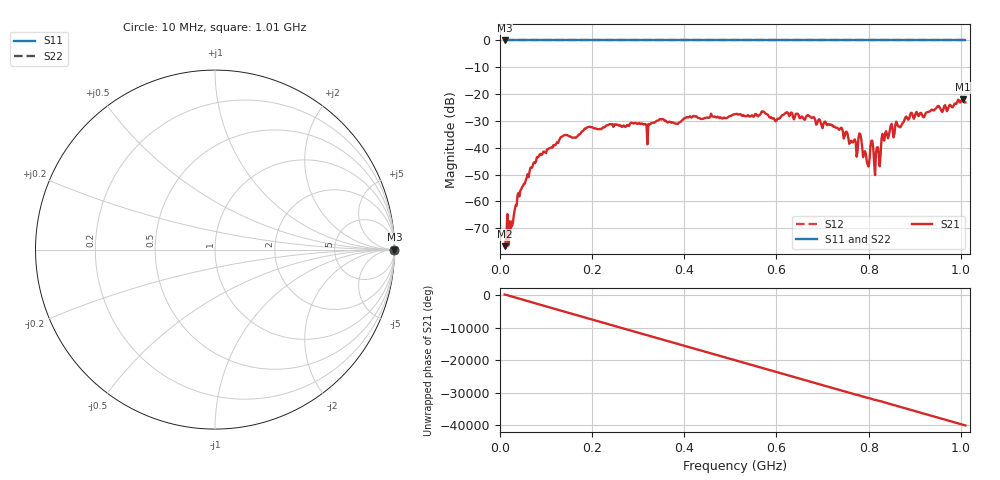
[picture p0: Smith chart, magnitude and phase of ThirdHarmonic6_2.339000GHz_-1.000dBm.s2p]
! 8/17/2025 3:26:43 AM
! C:\ANRITSUVNA\TEMP\TEMP.S2P
! CHANNEL.1
! TR.MEASUREMENT
! RAW.DATA
! RF.CORRECTION.OFF
! AVERAGING.OFF
! IF.BANDWIDTH: 5KHZ
! SWEEPTYPE:  FREQ.SWEEP(Linear)
! Reference Plane Port Info
! PORT:  PORT1  PORT2
! DISTANCE:  0  m  0  m
! TIME:  0  s  0  s
! PHASE.OFFSET:  0  deg.  0  deg.
! LOSS:  0  dB  0  dB
! REF.LOSS:  0  dB  0  dB
! REF.FREQ:  0  Hz  0  Hz
! Power Info
! POWER:  -20  dBm  -20  dBm
! EFF.POWER:  -20  dBm  -20  dBm
! SOURCE.ATTEN:  0  dB  0  dB
! TEST.ATTEN:  0  dB  0  dB
# GHZ S RI R 50.0
! FREQ.GHZ  S11RE  S11IM  S21RE  S21IM  S12RE  S12IM  S22RE  S22IM
!; PortSelection: Port_12
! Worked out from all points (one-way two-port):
!   501 points, 10 MHz to 1.01 GHz, reference 50 ohm
!   highest |S21| = -21.99 dB at 1.004 GHz (marker M1); lowest = -76.6 dB at 10 MHz (marker M2)
!   lowest |S11| = 0.0 dB at 10 MHz (marker M3)
!   |S11| at or under -10 dB: nowhere
!   |S22| runs from 0.0 to 0.0 dB; largest |S21 - S12| = 1.1
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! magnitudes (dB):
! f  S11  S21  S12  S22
! 10 MHz  0.0  -76.6  0.0  0.0
! 26 MHz  0.0  -69.2  0.0  0.0
! 42 MHz  0.0  -58.1  0.0  0.0
! 84 MHz  0.0  -43.3  0.0  0.0
! 136 MHz  0.0  -35.7  0.0  0.0
! 178 MHz  0.0  -33.8  0.0  0.0
! 288 MHz  0.0  -30.8  0.0  0.0
! 322 MHz  0.0  -31.1  0.0  0.0
! 344 MHz  0.0  -29.7  0.0  0.0
! 510 MHz  0.0  -27.5  0.0  0.0
! 678 MHz  0.0  -28.7  0.0  0.0
! 740 MHz  0.0  -32.5  0.0  0.0
! 772 MHz  0.0  -37.8  0.0  0.0
! 782 MHz  0.0  -34.9  0.0  0.0
! 798 MHz  0.0  -46.4  0.0  0.0
! 806 MHz  0.0  -37.4  0.0  0.0
! 816 MHz  0.0  -41.7  0.0  0.0
! 832 MHz  0.0  -36.8  0.0  0.0
! 844 MHz  0.0  -35.3  0.0  0.0
! 892 MHz  0.0  -26.9  0.0  0.0
! 1.004 GHz  0.0  -22.0  0.0  0.0
! 1.01 GHz  0.0  -23.1  0.0  0.0
